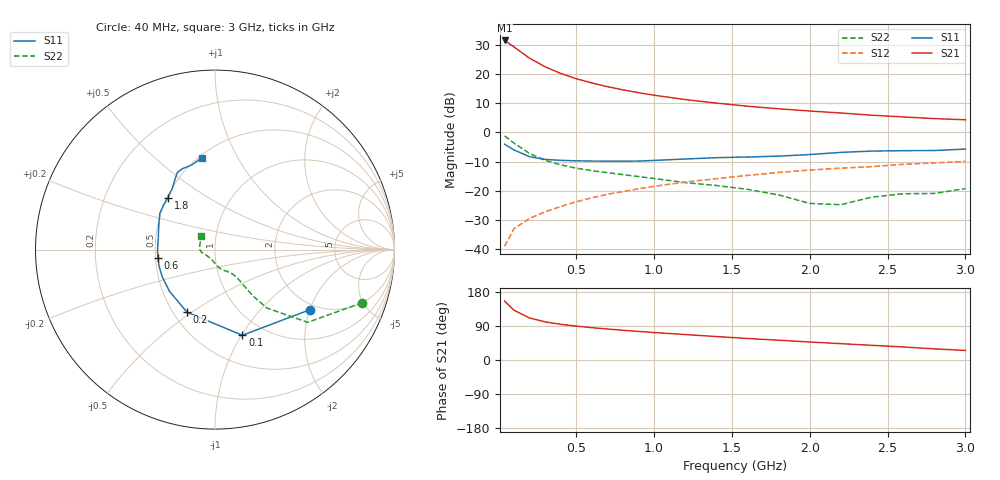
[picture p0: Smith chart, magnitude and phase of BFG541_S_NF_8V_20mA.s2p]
! Filename:  BFG541I.S2P  Version:  3.0
! Philips part #: BFG541  Date: Feb 1992
! Bias condition: Vce=8V, Ic=20mA
#  MHz  S  MA  R  50
! Freq  S11  S21  S12  S22  !GUM [dB]
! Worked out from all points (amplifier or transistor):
!   21 points, 40 MHz to 3 GHz, reference 50 ohm
!   highest |S21| = 31.7 dB at 40 MHz (marker M1)
!   |S21| within 3 dB of that: start of sweep to 119.9 MHz
!   unconditionally stable (mu >= 1): 614.1 MHz to end of sweep
!   at 300 MHz: K = 0.85, MSG = 25.0 dB, |S12| = -27.3 dB
!   at 1 GHz: K = 1.05, MAG = 14.3 dB, |S12| = -18.6 dB
!   at 3 GHz: K = 1.01, MAG = 6.7 dB, |S12| = -10.0 dB
!   lowest NFmin = 1.50 dB at 900 MHz
!   S11 on the Smith chart (normalised r, x): 40 MHz: 1.83, -2.01; 100 MHz: 0.79, -1.01; 200 MHz: 0.59, -0.48; 600 MHz: 0.52, -0.06; 1.8 GHz: 0.51, +0.35; 3 GHz: 0.52, +0.73
40  0.627 -32.2  38.49 155.4  0.011 74.9  0.872 -19.8
100  0.501 -72.3  29.77 131.4  0.022 64.7  0.657 -38.1
200  0.382 -114.1  19.07 110.9  0.033 63.0  0.435 -48.4
300  0.344 -137.5  13.55 100.7  0.043 64.5  0.332 -50.7
400  0.331 -152.5  10.41 94.2  0.053 66.7  0.277 -51.1
500  0.325 -163.0  8.449 89.5  0.064 67.6  0.243 -51.4
600  0.322 -171.3  7.125 85.3  0.075 68.2  0.22 -51.5
700  0.32 -178.5  6.163 81.8  0.086 68.3  0.203 -52.0
800  0.32 174.7  5.431 78.4  0.096 68.3  0.188 -52.5
900  0.322 168.4  4.852 75.4  0.107 67.9  0.174 -53.7
1000  0.33 162.7  4.382 72.5  0.118 67.4  0.161 -55.5
1200  0.349 153.2  3.693 67.2  0.14 66.0  0.137 -61.3
1400  0.368 146.6  3.208 61.9  0.16 64.1  0.122 -69.3
1600  0.378 139.8  2.834 56.8  0.182 62.7  0.105 -76.9
1800  0.391 132.1  2.559 52.2  0.205 59.8  0.084 -85.2
2000  0.417 124.6  2.343 47.5  0.225 57.8  0.06 -106.5
2200  0.454 119.2  2.164 43.1  0.243 55.4  0.057 -146.4
2400  0.478 116.0  1.984 38.7  0.258 54.0  0.077 -169.5
2600  0.486 112.1  1.852 34.4  0.283 50.7  0.088 177.2
2800  0.489 105.5  1.735 29.4  0.299 46.8  0.089 159.1
3000  0.517 97.9  1.654 25.2  0.317 45.0  0.108 135.4
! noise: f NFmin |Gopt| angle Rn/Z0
900  1.5  0.277  171  0.1
2000  2.2  0.514  -144  0.15
